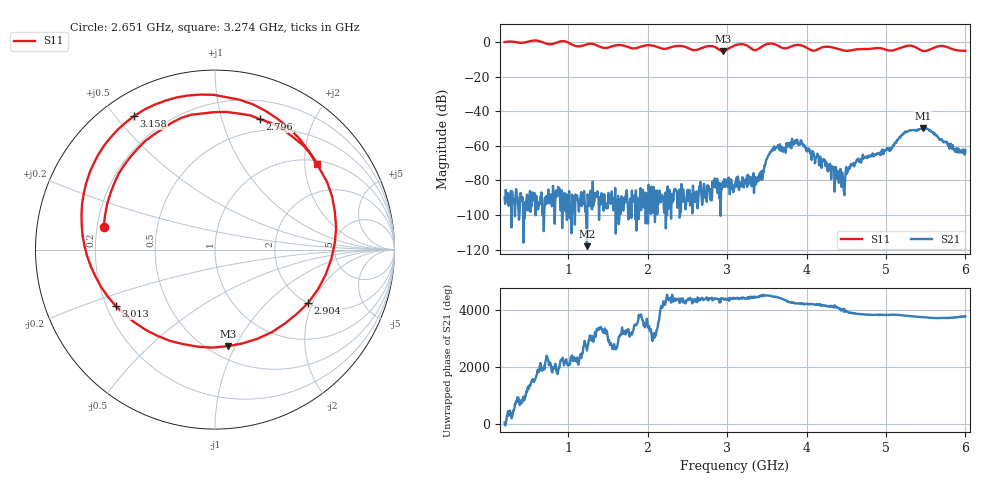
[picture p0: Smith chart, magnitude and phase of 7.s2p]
! NanoVNA-App
! Date: 2024-06-25 16:04:08
! Start: 200MHz Stop: 6GHz Points: 801
! S-Parameter data: F S11 S21 S12 S22
# Hz S RI R 50
!  Frequency  S11_Real  S11_Imag  S21_Real  S21_Imag  S12_Real  S12_Imag  S22_Real  S22_Imag
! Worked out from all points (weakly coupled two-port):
!   801 points, 200 MHz to 6 GHz, reference 50 ohm
!   highest |S21| = -49.68 dB at 5.463 GHz (marker M1); lowest = -118.0 dB at 1.237 GHz (marker M2)
!   lowest |S11| = -5.3 dB at 2.948 GHz (marker M3), VSWR 3.38, Z = 30.6 - j46.7 ohm
!   |S11| at or under -10 dB: nowhere
!   S12 and S22 are empty: the file has one direction only
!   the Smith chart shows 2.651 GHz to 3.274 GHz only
!   S11 on the Smith chart (normalised r, x): 2.651 GHz: 0.23, +0.09; 2.796 GHz: 0.38, +1.34; 2.904 GHz: 2.02, -1.86; 3.013 GHz: 0.24, -0.25; 3.158 GHz: 0.09, +0.56; 3.274 GHz: 1.09, +2.29
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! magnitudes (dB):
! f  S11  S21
! 200 MHz  0.0  -89.8
! 1.171 GHz  -2.2  -94.8
! 1.237 GHz  -1.2  -118.0
! 2.136 GHz  -3.0  -93.7
! 2.651 GHz  -4.0  -83.3
! 2.796 GHz  -2.3  -84.9
! 2.904 GHz  -4.5  -90.5
! 2.948 GHz  -5.3  -81.0
! 3.013 GHz  -3.9  -82.3
! 3.1 GHz  -1.9  -82.0
! 3.158 GHz  -1.2  -80.9
! 3.274 GHz  -2.6  -79.3
! 3.419 GHz  -3.2  -75.4
! 3.615 GHz  -1.5  -60.7
! 3.905 GHz  -1.6  -58.4
! 4.072 GHz  -4.9  -63.6
! 4.463 GHz  -4.8  -80.2
! 4.637 GHz  -4.1  -67.9
! 5.036 GHz  -4.8  -61.5
! 5.246 GHz  -2.4  -51.6
! 5.463 GHz  -5.0  -49.7
! 6 GHz  -5.0  -62.6
